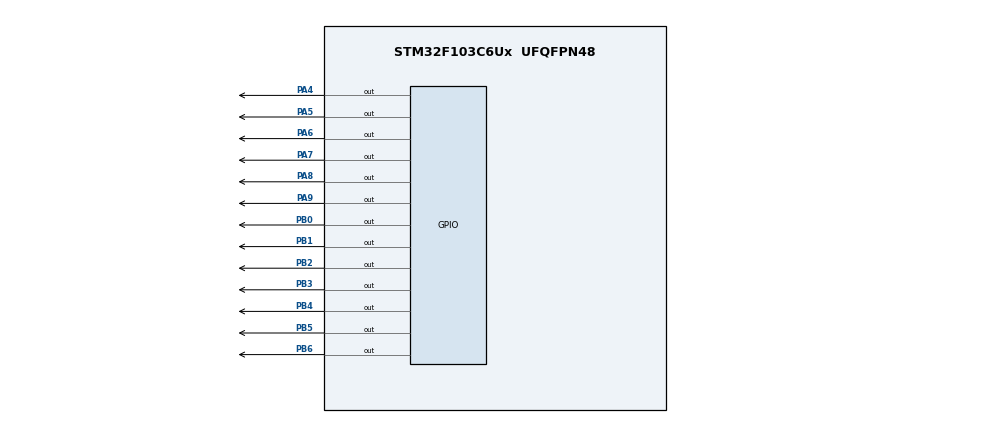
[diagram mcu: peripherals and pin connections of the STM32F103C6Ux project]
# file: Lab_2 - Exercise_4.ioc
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Mcu.Family=STM32F1
Mcu.Name=STM32F103C6Ux
Mcu.Package=UFQFPN48
NVIC.PriorityGroup=NVIC_PRIORITYGROUP_4
NVIC.TIM2_IRQn=true\:0\:0\:false\:false\:true\:true\:true
PA4.Signal=GPIO_Output
PA5.Signal=GPIO_Output
PA6.Signal=GPIO_Output
PA7.Signal=GPIO_Output
PA8.Signal=GPIO_Output
PA9.Signal=GPIO_Output
PB0.Signal=GPIO_Output
PB1.Signal=GPIO_Output
PB2.Signal=GPIO_Output
PB3.Signal=GPIO_Output
PB4.Signal=GPIO_Output
PB5.Signal=GPIO_Output
PB6.Signal=GPIO_Output
ProjectManager.HeapSize=0x200
ProjectManager.StackSize=0x400
ProjectManager.TargetToolchain=STM32CubeIDE
RCC.APB1Freq_Value=8000000
RCC.APB2Freq_Value=8000000
TIM2.Period=9
TIM2.Prescaler=7999
VP_SYS_VS_ND.Mode=No_Debug
VP_TIM2_VS_ClockSourceINT.Mode=Internal
board=custom

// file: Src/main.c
/* USER CODE BEGIN Header */
/**
  ******************************************************************************
  * @file           : main.c
  * @brief          : Main program body
  ******************************************************************************
  * @attention
  *
  * <h2><center>&copy; Copyright (c) 2025 STMicroelectronics.
  * All rights reserved.</center></h2>
  *
  * This software component is licensed by ST under BSD 3-Clause license,
  * the "License"; You may not use this file except in compliance with the
  * License. You may obtain a copy of the License at:
  *                        opensource.org/licenses/BSD-3-Clause
  *
  ******************************************************************************
  */
/* USER CODE END Header */
#include "main.h"

TIM_HandleTypeDef htim2;

void SystemClock_Config(void);
static void MX_GPIO_Init(void);
static void MX_TIM2_Init(void);

/* USER CODE BEGIN 0 */
uint8_t seg_digits[10] = {
	0b11000000, //0
	0b11111001, //1
	0b10100100, //2
	0b10110000, //3
	0b10011001, //4
	0b10010010, //5
	0b10000010, //6
	0b11111000, //7
	0b10000000, //8
	0b10010000  //9
};

void display7SEG(int firstPin, int num){
	if ( num > 9 ) return;
	uint8_t pattern = seg_digits[num];

	for ( int i = 0; i < 7; i++){
		HAL_GPIO_WritePin(GPIOB, firstPin << i, (pattern & (1 << i)) ? GPIO_PIN_SET : GPIO_PIN_RESET);
	}
}

const int MAX_LED = 4;
int index_led = 0;
int led_buffer[4] = {1,2,3,4};

void update7SEG(int index){

	HAL_GPIO_WritePin(GPIOA, GPIO_PIN_6, GPIO_PIN_SET);
	HAL_GPIO_WritePin(GPIOA, GPIO_PIN_7, GPIO_PIN_SET);
	HAL_GPIO_WritePin(GPIOA, GPIO_PIN_8, GPIO_PIN_SET);
	HAL_GPIO_WritePin(GPIOA, GPIO_PIN_9, GPIO_PIN_SET);

	switch (index){
	case 0:
		HAL_GPIO_WritePin(GPIOA, GPIO_PIN_6, GPIO_PIN_RESET);
		display7SEG(GPIO_PIN_0, led_buffer[0]);
		break;
	case 1:
		HAL_GPIO_WritePin(GPIOA, GPIO_PIN_7, GPIO_PIN_RESET);
		display7SEG(GPIO_PIN_0, led_buffer[1]);
		break;
	case 2:
		HAL_GPIO_WritePin(GPIOA, GPIO_PIN_8, GPIO_PIN_RESET);
		display7SEG(GPIO_PIN_0, led_buffer[2]);
		break;
	case 3:
		HAL_GPIO_WritePin(GPIOA, GPIO_PIN_9, GPIO_PIN_RESET);
		display7SEG(GPIO_PIN_0, led_buffer[3]);
		break;
	default:
		break;
	}
}

void updateClockBuffer(int hour, int minute){
	led_buffer[0] = hour/10;
	led_buffer[1] = hour%10;
	led_buffer[2] = minute/10;
	led_buffer[3] = minute%10;
}

/* USER CODE END 0 */

int main(void)
{

  /* MCU Configuration--------------------------------------------------------*/

  /* Reset of all peripherals, Initializes the Flash interface and the Systick. */
  HAL_Init();

  /* Configure the system clock */
  SystemClock_Config();

  /* Initialize all configured peripherals */
  MX_GPIO_Init();
  MX_TIM2_Init();
  /* USER CODE BEGIN 2 */
  HAL_TIM_Base_Start_IT(&htim2);
  /* USER CODE END 2 */

  /* Infinite loop */
  /* USER CODE BEGIN WHILE */
  int hour = 15, minute = 8, second = 50;
  while (1)
  {
    /* USER CODE END WHILE */
	second++;
	if (second >= 60){
		second = 0;
		minute++;
	}
	if (minute >= 60){
		minute = 0;
		hour++;
	}
	if (hour >= 24){
		hour = 0;
	}
	updateClockBuffer(hour, minute);
	HAL_Delay(1000);
  }
}

void SystemClock_Config(void)
{
  RCC_OscInitTypeDef RCC_OscInitStruct = {0};
  RCC_ClkInitTypeDef RCC_ClkInitStruct = {0};

  /** Initializes the RCC Oscillators according to the specified parameters
  * in the RCC_OscInitTypeDef structure.
  */
  RCC_OscInitStruct.OscillatorType = RCC_OSCILLATORTYPE_HSI;
  RCC_OscInitStruct.HSIState = RCC_HSI_ON;
  RCC_OscInitStruct.HSICalibrationValue = RCC_HSICALIBRATION_DEFAULT;
  RCC_OscInitStruct.PLL.PLLState = RCC_PLL_NONE;
  if (HAL_RCC_OscConfig(&RCC_OscInitStruct) != HAL_OK)
  {
    Error_Handler();
  }
  /** Initializes the CPU, AHB and APB buses clocks
  */
  RCC_ClkInitStruct.ClockType = RCC_CLOCKTYPE_HCLK|RCC_CLOCKTYPE_SYSCLK
                              |RCC_CLOCKTYPE_PCLK1|RCC_CLOCKTYPE_PCLK2;
  RCC_ClkInitStruct.SYSCLKSource = RCC_SYSCLKSOURCE_HSI;
  RCC_ClkInitStruct.AHBCLKDivider = RCC_SYSCLK_DIV1;
  RCC_ClkInitStruct.APB1CLKDivider = RCC_HCLK_DIV1;
  RCC_ClkInitStruct.APB2CLKDivider = RCC_HCLK_DIV1;

  if (HAL_RCC_ClockConfig(&RCC_ClkInitStruct, FLASH_LATENCY_0) != HAL_OK)
  {
    Error_Handler();
  }
}

static void MX_TIM2_Init(void)
{

  TIM_ClockConfigTypeDef sClockSourceConfig = {0};
  TIM_MasterConfigTypeDef sMasterConfig = {0};

  htim2.Instance = TIM2;
  htim2.Init.Prescaler = 7999;
  htim2.Init.CounterMode = TIM_COUNTERMODE_UP;
  htim2.Init.Period = 9;
  htim2.Init.ClockDivision = TIM_CLOCKDIVISION_DIV1;
  htim2.Init.AutoReloadPreload = TIM_AUTORELOAD_PRELOAD_DISABLE;
  if (HAL_TIM_Base_Init(&htim2) != HAL_OK)
  {
    Error_Handler();
  }
  sClockSourceConfig.ClockSource = TIM_CLOCKSOURCE_INTERNAL;
  if (HAL_TIM_ConfigClockSource(&htim2, &sClockSourceConfig) != HAL_OK)
  {
    Error_Handler();
  }
  sMasterConfig.MasterOutputTrigger = TIM_TRGO_RESET;
  sMasterConfig.MasterSlaveMode = TIM_MASTERSLAVEMODE_DISABLE;
  if (HAL_TIMEx_MasterConfigSynchronization(&htim2, &sMasterConfig) != HAL_OK)
  {
    Error_Handler();
  }

}

static void MX_GPIO_Init(void)
{
  GPIO_InitTypeDef GPIO_InitStruct = {0};

  /* GPIO Ports Clock Enable */
  __HAL_RCC_GPIOA_CLK_ENABLE();
  __HAL_RCC_GPIOB_CLK_ENABLE();

  /*Configure GPIO pin Output Level */
  HAL_GPIO_WritePin(GPIOA, GPIO_PIN_4|GPIO_PIN_5|GPIO_PIN_6|GPIO_PIN_7
                          |GPIO_PIN_8|GPIO_PIN_9, GPIO_PIN_RESET);

  /*Configure GPIO pin Output Level */
  HAL_GPIO_WritePin(GPIOB, GPIO_PIN_0|GPIO_PIN_1|GPIO_PIN_2|GPIO_PIN_3
                          |GPIO_PIN_4|GPIO_PIN_5|GPIO_PIN_6, GPIO_PIN_RESET);

  /*Configure GPIO pins : PA4 PA5 PA6 PA7
                           PA8 PA9 */
  GPIO_InitStruct.Pin = GPIO_PIN_4|GPIO_PIN_5|GPIO_PIN_6|GPIO_PIN_7
                          |GPIO_PIN_8|GPIO_PIN_9;
  GPIO_InitStruct.Mode = GPIO_MODE_OUTPUT_PP;
  GPIO_InitStruct.Pull = GPIO_NOPULL;
  GPIO_InitStruct.Speed = GPIO_SPEED_FREQ_LOW;
  HAL_GPIO_Init(GPIOA, &GPIO_InitStruct);

  /*Configure GPIO pins : PB0 PB1 PB2 PB3
                           PB4 PB5 PB6 */
  GPIO_InitStruct.Pin = GPIO_PIN_0|GPIO_PIN_1|GPIO_PIN_2|GPIO_PIN_3
                          |GPIO_PIN_4|GPIO_PIN_5|GPIO_PIN_6;
  GPIO_InitStruct.Mode = GPIO_MODE_OUTPUT_PP;
  GPIO_InitStruct.Pull = GPIO_NOPULL;
  GPIO_InitStruct.Speed = GPIO_SPEED_FREQ_LOW;
  HAL_GPIO_Init(GPIOB, &GPIO_InitStruct);

}

/* USER CODE BEGIN 4 */
int counter = 100;
void HAL_TIM_PeriodElapsedCallback(TIM_HandleTypeDef *htim){
	if (htim->Instance == TIM2){
		counter--;
		if (counter <= 0){
			counter = 100;
			HAL_GPIO_TogglePin(GPIOA, GPIO_PIN_4);
			HAL_GPIO_TogglePin(GPIOA, GPIO_PIN_5);
			update7SEG(index_led);
			index_led++;
			if (index_led >= MAX_LED) index_led = 0;
		}
	}
}
/* USER CODE END 4 */

void Error_Handler(void)
{
  __disable_irq();
  while (1)
  {
  }
}

/************************ (C) COPYRIGHT STMicroelectronics *****END OF FILE****/
